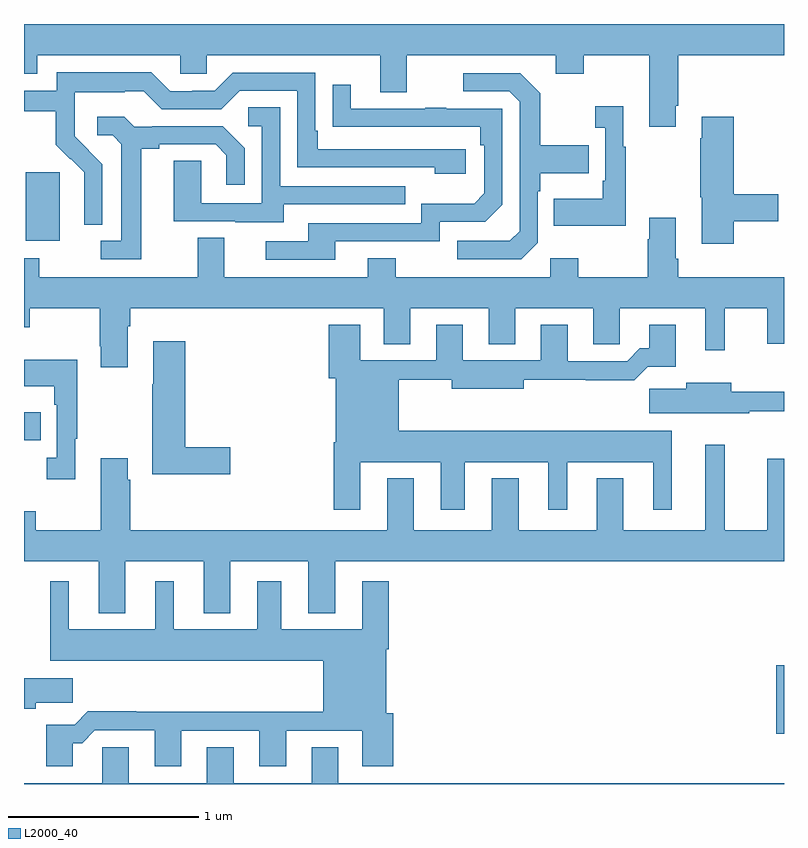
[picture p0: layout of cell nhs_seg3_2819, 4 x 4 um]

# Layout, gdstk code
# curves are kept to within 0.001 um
import gdstk
lib = gdstk.Library(unit=1e-6, precision=1e-09)
def R(c, l, rs):  # rectangles x0, y0, x1, y1
    for r in rs: c.add(gdstk.rectangle(r[:2], r[2:], *l))
def P(c, l, *ps):  # polygons
    for p in ps: c.add(gdstk.Polygon(p, *l))
L2000_40 = (2000, 40)

nhs_seg3_2819 = lib.new_cell('nhs_seg3_2819')
R(nhs_seg3_2819, L2000_40, [(260.96,710.664,261,711.025), (257,712.21,257.087,712.357), (257.009,713.258,257.188,713.619)])
P(nhs_seg3_2819, L2000_40, [(260.431,713.971),(260.444,713.971),(260.444,714.236),(261,714.236),(261,714.4),(257,714.4),(257,714.137),(257.071,714.137),(257.071,714.236),(257.823,714.236),(257.823,714.138),(257.961,714.138),(257.961,714.236),(258.875,714.236),(258.875,714.042),(259.015,714.042),(259.015,714.236),(259.799,714.236),(259.799,714.137),(259.947,714.137),(259.947,714.236),(260.291,714.236),(260.291,713.859),(260.431,713.859)],
  [(257.412,713.662),(257.266,713.81),(257.266,713.907),(257.268,713.907),(257.268,714.041),(257.531,714.041),(257.531,714.045),(257.631,714.045),(257.724,713.952),(258.039,713.952),(258.135,714.048),(258.438,714.048),(258.438,713.646),(259.163,713.646),(259.163,713.612),(259.324,713.612),(259.324,713.742),(258.547,713.742),(258.547,713.839),(258.534,713.839),(258.534,714.144),(258.099,714.144),(258.003,714.048),(257.885,714.048),(257.885,714.045),(257.769,714.045),(257.669,714.145),(257.172,714.145),(257.172,714.048),(257,714.048),(257,713.94),(257.167,713.94),(257.167,713.765),(257.244,713.688),(257.247,713.691),(257.318,713.621),(257.318,713.498),(257.316,713.498),(257.316,713.344),(257.412,713.344)],
  [(259.704,713.25),(259.704,713.519),(259.717,713.519),(259.717,713.615),(259.973,713.615),(259.973,713.763),(259.717,713.763),(259.717,714.035),(259.611,714.141),(259.311,714.141),(259.311,714.045),(259.554,714.045),(259.608,713.991),(259.608,713.31),(259.557,713.259),(259.281,713.259),(259.281,713.163),(259.617,713.163)],
  [(258.637,713.256),(259.188,713.256),(259.188,713.358),(259.428,713.358),(259.518,713.448),(259.518,713.955),(259.223,713.955),(259.223,713.96),(259.111,713.96),(259.111,713.955),(258.721,713.955),(258.721,714.079),(258.625,714.079),(258.625,713.86),(259.402,713.859),(259.402,713.762),(259.422,713.762),(259.422,713.508),(259.369,713.455),(259.092,713.455),(259.092,713.352),(258.497,713.352),(258.497,713.256),(258.273,713.256),(258.273,713.16),(258.637,713.16)],
  [(260.166,713.755),(260.155,713.755),(260.155,713.968),(260.007,713.968),(260.007,713.855),(260.058,713.855),(260.058,713.575),(260.046,713.575),(260.046,713.479),(259.789,713.479),(259.789,713.339),(260.166,713.339)],
  [(258.367,713.451),(259.007,713.451),(259.007,713.547),(258.348,713.547),(258.348,713.963),(258.18,713.963),(258.18,713.862),(258.252,713.862),(258.252,713.457),(257.934,713.457),(257.934,713.681),(257.789,713.681),(257.789,713.361),(258.113,713.361),(258.113,713.357),(258.367,713.357)],
  [(260.735,713.362),(260.971,713.362),(260.971,713.504),(260.735,713.504),(260.735,713.911),(260.567,713.911),(260.567,713.798),(260.56,713.798),(260.56,713.487),(260.567,713.487),(260.567,713.244),(260.735,713.244)],
  [(257.617,713.744),(257.713,713.744),(257.713,713.766),(258.008,713.766),(258.065,713.709),(258.065,713.553),(258.162,713.553),(258.162,713.746),(258.046,713.862),(257.674,713.862),(257.674,713.859),(257.58,713.859),(257.528,713.911),(257.385,713.911),(257.385,713.814),(257.466,713.814),(257.513,713.767),(257.513,713.259),(257.403,713.259),(257.403,713.163),(257.617,713.163)],
  [(257.545,712.808),(257.558,712.808),(257.558,712.904),(258.893,712.904),(258.893,712.714),(259.033,712.714),(259.033,712.904),(259.445,712.904),(259.445,712.715),(259.585,712.715),(259.585,712.904),(259.997,712.904),(259.997,712.714),(260.136,712.714),(260.136,712.904),(260.585,712.904),(260.585,712.683),(260.689,712.683),(260.689,712.904),(260.912,712.904),(260.912,712.716),(261,712.716),(261,713.068),(260.444,713.068),(260.444,713.164),(260.431,713.164),(260.431,713.38),(260.291,713.38),(260.291,713.267),(260.284,713.267),(260.284,713.068),(259.916,713.068),(259.916,713.167),(259.77,713.167),(259.77,713.068),(258.957,713.068),(258.957,713.167),(258.809,713.167),(258.809,713.068),(258.055,713.068),(258.055,713.276),(257.915,713.276),(257.915,713.068),(257.079,713.068),(257.079,713.167),(257,713.167),(257,712.805),(257.031,712.805),(257.031,712.904),(257.398,712.904),(257.398,712.705),(257.405,712.705),(257.405,712.593),(257.545,712.593)],
  [(258.769,712.094),(259.193,712.094),(259.193,711.843),(259.321,711.843),(259.321,712.094),(259.76,712.094),(259.76,711.843),(259.858,711.843),(259.858,712.094),(260.312,712.094),(260.312,711.843),(260.41,711.843),(260.41,712.258),(258.973,712.258),(258.973,712.528),(259.25,712.528),(259.25,712.481),(259.63,712.481),(259.63,712.528),(259.957,712.528),(259.957,712.526),(260.213,712.526),(260.282,712.595),(260.431,712.595),(260.431,712.816),(260.291,712.816),(260.291,712.693),(260.242,712.693),(260.175,712.626),(259.861,712.626),(259.861,712.816),(259.721,712.816),(259.721,712.629),(259.309,712.63),(259.309,712.816),(259.169,712.816),(259.169,712.629),(258.769,712.629),(258.769,712.816),(258.605,712.816),(258.605,712.536),(258.641,712.536),(258.641,712.198),(258.629,712.198),(258.629,711.843),(258.769,711.843)],
  [(258.085,712.172),(257.849,712.172),(257.849,712.729),(257.681,712.729),(257.681,712.505),(257.674,712.505),(257.674,712.03),(258.085,712.03)],
  [(257.269,712.217),(257.281,712.217),(257.281,712.633),(257,712.633),(257,712.493),(257.16,712.493),(257.16,712.397),(257.172,712.397),(257.172,712.118),(257.121,712.118),(257.121,712.005),(257.269,712.005)],
  [(260.818,712.363),(261,712.363),(261,712.464),(260.722,712.464),(260.722,712.513),(260.486,712.513),(260.486,712.481),(260.291,712.481),(260.291,712.352),(260.818,712.352)],
  [(257.945,711.299),(258.085,711.299),(258.085,711.572),(258.497,711.572),(258.497,711.299),(258.637,711.299),(258.637,711.572),(261,711.572),(261,712.111),(260.912,712.111),(260.912,711.736),(260.689,711.736),(260.689,712.186),(260.585,712.186),(260.585,711.736),(260.155,711.736),(260.155,712.009),(260.015,712.009),(260.015,711.736),(259.603,711.736),(259.603,712.009),(259.463,712.009),(259.463,711.736),(259.051,711.736),(259.051,712.009),(258.911,712.009),(258.911,711.736),(257.558,711.736),(257.558,712.001),(257.545,712.001),(257.545,712.114),(257.405,712.114),(257.405,711.736),(257.061,711.736),(257.061,711.835),(257,711.835),(257,711.572),(257.393,711.572),(257.393,711.299),(257.533,711.299),(257.533,711.572),(257.945,711.572)],
  [(257.257,710.615),(257.306,710.615),(257.373,710.682),(257.687,710.682),(257.687,710.493),(257.827,710.493),(257.827,710.679),(258.239,710.679),(258.239,710.493),(258.379,710.493),(258.379,710.679),(258.779,710.679),(258.779,710.493),(258.944,710.493),(258.944,710.772),(258.907,710.772),(258.907,711.11),(258.92,711.11),(258.92,711.466),(258.779,711.466),(258.779,711.214),(258.355,711.214),(258.355,711.466),(258.227,711.466),(258.227,711.214),(257.788,711.214),(257.788,711.466),(257.69,711.466),(257.69,711.214),(257.236,711.214),(257.236,711.466),(257.138,711.466),(257.138,711.05),(258.575,711.05),(258.575,710.78),(257.591,710.78),(257.591,710.783),(257.336,710.783),(257.266,710.713),(257.117,710.713),(257.117,710.493),(257.257,710.493)],
  [(257.062,710.827),(257.257,710.827),(257.257,710.956),(257,710.956),(257,710.795),(257.062,710.795)],
  [(261,710.404),(258.655,710.404),(258.655,710.594),(258.515,710.594),(258.515,710.404),(258.103,710.404),(258.103,710.594),(257.963,710.594),(257.963,710.404),(257.551,710.404),(257.551,710.594),(257.412,710.594),(257.412,710.404),(257,710.404),(257,710.4),(261,710.4)])

lib.write_gds('nhs_seg3_2819.gds')
